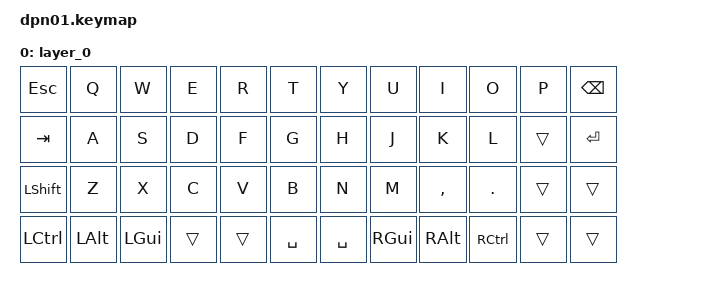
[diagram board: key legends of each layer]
#include <behaviors.dtsi>
#include <dt-bindings/zmk/keys.h>

#define LAYER 0
/ {
    keymap {
        compatible = "zmk,keymap";

        layer_0 {
            bindings = <
&kp ESC    &kp Q     &kp W     &kp E   &kp R   &kp T      &kp Y      &kp U     &kp I      &kp O      &kp P   &kp BSPC
&kp TAB    &kp A     &kp S     &kp D   &kp F   &kp G      &kp H      &kp J     &kp K      &kp L      &trans  &kp ENTER
&kp LSHFT  &kp Z     &kp X     &kp C   &kp V   &kp B      &kp N      &kp M     &kp COMMA  &kp DOT    &trans  &trans
&kp LCTRL  &kp LALT  &kp LGUI  &trans  &trans  &kp SPACE  &kp SPACE  &kp RGUI  &kp RALT   &kp RCTRL  &trans  &trans
            >;
        };
    };
};
